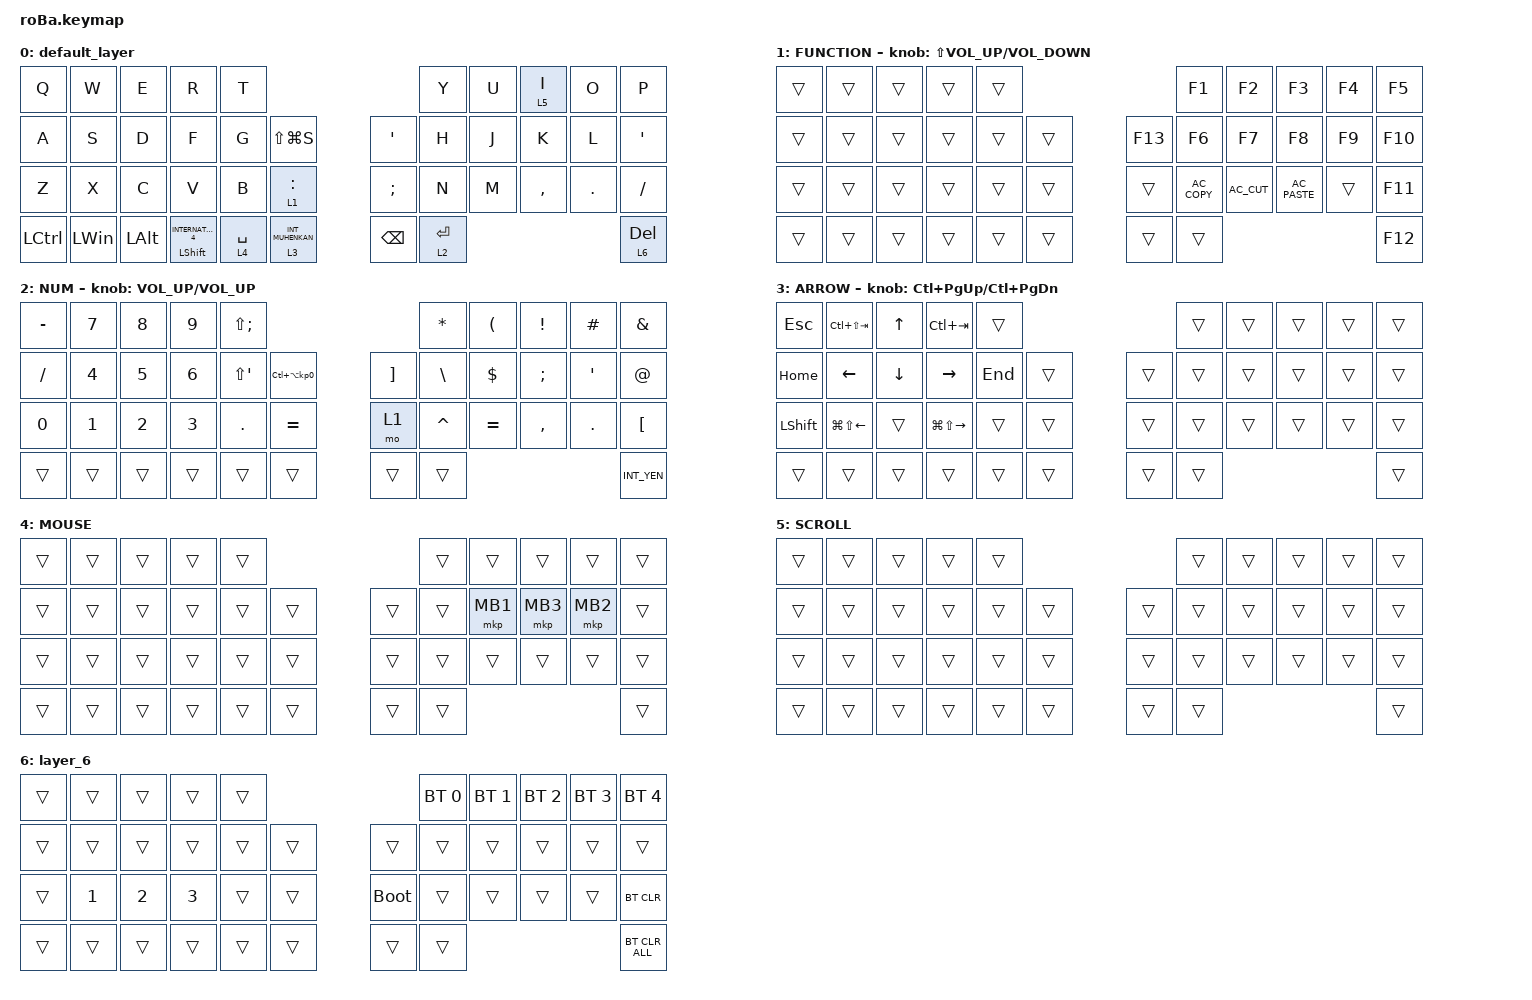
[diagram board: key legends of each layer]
#include <behaviors.dtsi>
#include <dt-bindings/zmk/bt.h>
#include <dt-bindings/zmk/keys.h>
#include <dt-bindings/zmk/pointing.h>

//#define ZMK_POINTING_DEFAULT_SCRL_VAL 80

&mt {
    flavor = "balanced";
    quick-tap-ms = <0>;
};

&trackball {
    //automouse-layer = <4>;

    scroll-layers = <5>;

    // arrows {
    //     layers = <3>;
    //     bindings =
    //         <&kp RIGHT_ARROW>,
    //         <&kp LEFT_ARROW>,
    //         <&kp UP_ARROW>,
    //         <&kp DOWN_ARROW>;
    //     tick = <10>;
    //     wait-ms = <5>;
    //     tap-ms = <5>;
    // };
};

/ {
    combos {
        compatible = "zmk,combos";

        tab {
            bindings = <&kp TAB>;
            key-positions = <11 12>;
        };

        shift_tab {
            bindings = <&kp LS(TAB)>;
            key-positions = <12 13>;
        };

        HANzen {
            bindings = <&to_layer_0 CAPSLOCK>;
            key-positions = <11 10>;
        };

        double_quotation {
            bindings = <&kp DOUBLE_QUOTES>;
            key-positions = <20 21>;
        };

        eq {
            bindings = <&kp EQUAL>;
            key-positions = <24 25>;
        };

        Mouse {
            bindings = <&mo 4>;
            key-positions = <2 1>;
            layers = <4>;
        };
    };

    macros {
        to_layer_0: to_layer_0 {
            compatible = "zmk,behavior-macro-one-param";
            #binding-cells = <1>;
            bindings = <&to 0 &macro_param_1to1 &kp MACRO_PLACEHOLDER>;
            label = "TO_LAYER_0";
        };
    };

    behaviors {
        lt_to_layer_0: lt_to_layer_0 {
            compatible = "zmk,behavior-hold-tap";
            label = "LAYER_TAP_TO_0";
            bindings = <&mo>, <&to_layer_0>;

            #binding-cells = <2>;
            tapping-term-ms = <200>;
        };
    };

    keymap {
        compatible = "zmk,keymap";

        default_layer {
            bindings = <
&kp Q      &kp W         &kp E         &kp R                           &kp T                                                             &kp Y        &kp U  &lt 5 I    &kp O    &kp P
&kp A      &kp S         &kp D         &kp F                           &kp G        &kp LS(LG(S))                      &kp SINGLE_QUOTE  &kp H        &kp J  &kp K      &kp L    &kp SQT
&kp Z      &kp X         &kp C         &kp V                           &kp B        &lt 1 COLON                        &kp SEMICOLON     &kp N        &kp M  &kp COMMA  &kp DOT  &kp SLASH
&kp LCTRL  &kp LEFT_WIN  &kp LEFT_ALT  &mt LEFT_SHIFT INTERNATIONAL_4  &lt 4 SPACE  &lt_to_layer_0 3 INT_MUHENKAN      &kp BACKSPACE     &lt 2 ENTER                             &lt_to_layer_0 6 DELETE
            >;

            // sensor-bindings = <&encoder_msc_down_up>;
        };

        FUNCTION {
            bindings = <
&trans  &trans  &trans  &trans  &trans                       &kp F1         &kp F2        &kp F3          &kp F4  &kp F5
&trans  &trans  &trans  &trans  &trans  &trans      &kp F13  &kp F6         &kp F7        &kp F8          &kp F9  &kp F10
&trans  &trans  &trans  &trans  &trans  &trans      &trans   &kp C_AC_COPY  &kp C_AC_CUT  &kp C_AC_PASTE  &trans  &kp F11
&trans  &trans  &trans  &trans  &trans  &trans      &trans   &trans                                               &kp F12
            >;

            sensor-bindings = <&inc_dec_kp LS(C_VOLUME_UP) C_VOLUME_DOWN>;
        };

        NUM {
            bindings = <
&kp MINUS     &kp NUMBER_7  &kp NUMBER_8  &kp NUMBER_9  &kp LS(SEMI)                                                          &kp ASTERISK   &kp LEFT_PARENTHESIS  &kp EXCLAMATION  &kp HASH          &kp AMPERSAND
&kp SLASH     &kp NUMBER_4  &kp NUMBER_5  &kp NUMBER_6  &kp LS(SINGLE_QUOTE)  &kp LC(LA(KP_NUMBER_0))      &kp RIGHT_BRACKET  &kp BACKSLASH  &kp DOLLAR            &kp SEMICOLON    &kp SINGLE_QUOTE  &kp AT_SIGN
&kp NUMBER_0  &kp NUMBER_1  &kp NUMBER_2  &kp NUMBER_3  &kp PERIOD            &kp EQUAL                    &mo 1              &kp CARET      &kp EQUAL             &kp COMMA        &kp DOT           &kp LEFT_BRACKET
&trans        &trans        &trans        &trans        &trans                &trans                       &trans             &trans                                                                  &kp INT_YEN
            >;

            sensor-bindings = <&inc_dec_kp C_VOLUME_UP K_VOLUME_UP>;
        };

        ARROW {
            bindings = <
&kp ESCAPE      &kp LC(LS(TAB))         &kp UP_ARROW    &kp LC(TAB)              &trans                       &trans  &trans  &trans  &trans  &trans
&kp HOME        &kp LEFT_ARROW          &kp DOWN_ARROW  &kp RIGHT_ARROW          &kp END  &trans      &trans  &trans  &trans  &trans  &trans  &trans
&kp LEFT_SHIFT  &kp LG(LS(LEFT_ARROW))  &trans          &kp LG(LS(RIGHT_ARROW))  &trans   &trans      &trans  &trans  &trans  &trans  &trans  &trans
&trans          &trans                  &trans          &trans                   &trans   &trans      &trans  &trans                          &trans
            >;

            sensor-bindings = <&inc_dec_kp LC(PAGE_UP) LC(PAGE_DOWN)>;
        };

        MOUSE {
            bindings = <
&trans  &trans  &trans  &trans  &trans                      &trans  &trans    &trans    &trans    &trans
&trans  &trans  &trans  &trans  &trans  &trans      &trans  &trans  &mkp MB1  &mkp MB3  &mkp MB2  &trans
&trans  &trans  &trans  &trans  &trans  &trans      &trans  &trans  &trans    &trans    &trans    &trans
&trans  &trans  &trans  &trans  &trans  &trans      &trans  &trans                                &trans
            >;
        };

        SCROLL {
            bindings = <
&trans  &trans  &trans  &trans  &trans                      &trans  &trans  &trans  &trans  &trans
&trans  &trans  &trans  &trans  &trans  &trans      &trans  &trans  &trans  &trans  &trans  &trans
&trans  &trans  &trans  &trans  &trans  &trans      &trans  &trans  &trans  &trans  &trans  &trans
&trans  &trans  &trans  &trans  &trans  &trans      &trans  &trans                          &trans
            >;
        };

        layer_6 {
            bindings = <
&trans  &trans        &trans        &trans        &trans                           &bt BT_SEL 0  &bt BT_SEL 1  &bt BT_SEL 2  &bt BT_SEL 3  &bt BT_SEL 4
&trans  &trans        &trans        &trans        &trans  &trans      &trans       &trans        &trans        &trans        &trans        &trans
&trans  &kp NUMBER_1  &kp NUMBER_2  &kp NUMBER_3  &trans  &trans      &bootloader  &trans        &trans        &trans        &trans        &bt BT_CLR
&trans  &trans        &trans        &trans        &trans  &trans      &trans       &trans                                                  &bt BT_CLR_ALL
            >;
        };
    };
};
